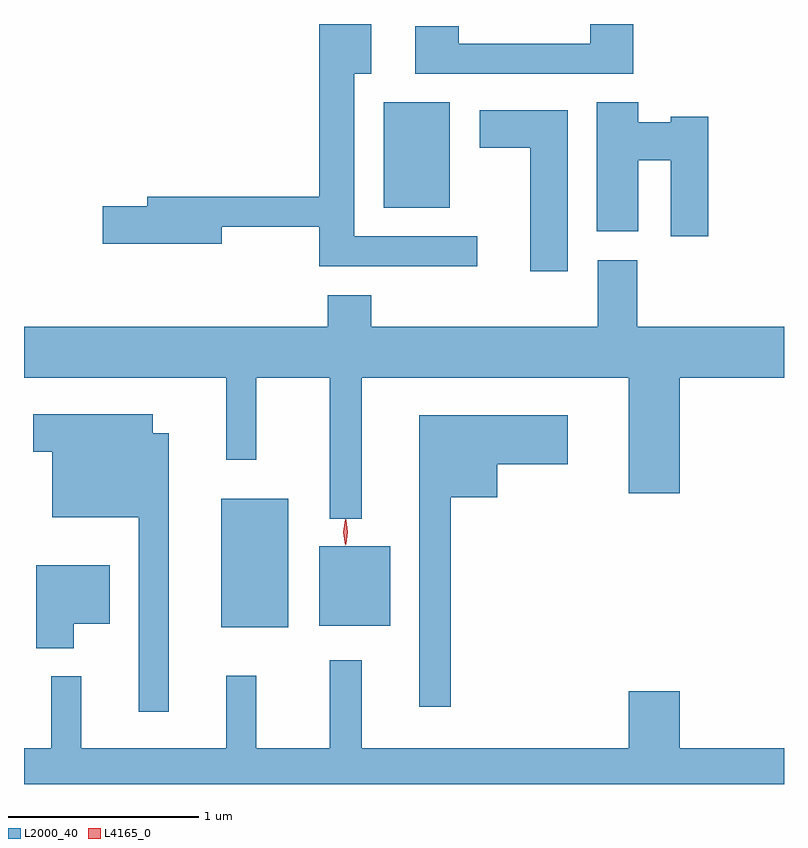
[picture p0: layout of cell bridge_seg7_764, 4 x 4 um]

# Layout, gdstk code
import gdstk
lib = gdstk.Library(unit=1e-6, precision=1e-09)
def R(c, l, rs):  # rectangles x0, y0, x1, y1
    for r in rs: c.add(gdstk.rectangle(r[:2], r[2:], *l))
def P(c, l, *ps):  # polygons
    for p in ps: c.add(gdstk.Polygon(p, *l))
L2000_40 = (2000, 40)
L4165_0 = (4165, 0)

bridge_seg7_764 = lib.new_cell('bridge_seg7_764')
R(bridge_seg7_764, L2000_40, [(252.891,1784.041,253.244,1784.719), (253.406,1784.051,253.779,1784.469), (253.746,1786.251,254.094,1786.804)])
P(bridge_seg7_764, L2000_40, [(255.059,1787.217),(254.831,1787.217),(254.831,1787.114),(254.139,1787.114),(254.139,1787.204),(253.911,1787.204),(253.911,1786.956),(255.059,1786.956)],
  [(254.238,1786.099),(253.589,1786.099),(253.589,1786.956),(253.679,1786.956),(253.679,1787.217),(253.406,1787.217),(253.406,1786.309),(252.501,1786.309),(252.501,1786.259),(252.266,1786.259),(252.266,1786.061),(252.894,1786.061),(252.894,1786.151),(253.406,1786.151),(253.406,1785.941),(254.238,1785.941)],
  [(255.454,1786.729),(255.256,1786.729),(255.256,1786.699),(255.084,1786.699),(255.084,1786.804),(254.866,1786.804),(254.866,1786.126),(255.084,1786.126),(255.084,1786.501),(255.256,1786.501),(255.256,1786.101),(255.454,1786.101)],
  [(254.714,1786.764),(254.251,1786.764),(254.251,1786.566),(254.516,1786.566),(254.516,1785.916),(254.714,1785.916)],
  [(253.629,1785.356),(255.036,1785.356),(255.036,1784.746),(255.304,1784.746),(255.304,1785.356),(255.852,1785.356),(255.852,1785.624),(255.079,1785.624),(255.079,1785.974),(254.871,1785.974),(254.871,1785.624),(253.679,1785.624),(253.679,1785.789),(253.451,1785.789),(253.451,1785.624),(251.852,1785.624),(251.852,1785.356),(252.916,1785.356),(252.916,1784.923),(253.074,1784.923),(253.074,1785.356),(253.461,1785.356),(253.461,1784.613),(253.629,1784.613)],
  [(252.614,1785.064),(252.529,1785.064),(252.529,1785.164),(251.901,1785.164),(251.901,1784.966),(252.001,1784.966),(252.001,1784.621),(252.456,1784.621),(252.456,1783.598),(252.614,1783.598)],
  [(254.099,1784.726),(254.344,1784.726),(254.344,1784.901),(254.714,1784.901),(254.714,1785.159),(253.931,1785.159),(253.931,1783.623),(254.099,1783.623)],
  [(252.114,1784.061),(252.304,1784.061),(252.304,1784.369),(251.916,1784.369),(251.916,1783.931),(252.114,1783.931)],
  [(255.852,1783.404),(255.304,1783.404),(255.304,1783.704),(255.036,1783.704),(255.036,1783.404),(253.629,1783.404),(253.629,1783.868),(253.461,1783.868),(253.461,1783.404),(253.074,1783.404),(253.074,1783.788),(252.916,1783.788),(252.916,1783.404),(252.154,1783.404),(252.154,1783.783),(251.996,1783.783),(251.996,1783.404),(251.852,1783.404),(251.852,1783.217),(255.852,1783.217)])
P(bridge_seg7_764, L4165_0, [(253.543,1784.473),(253.543,1784.474),(253.533,1784.542),(253.543,1784.61),(253.543,1784.61),(253.544,1784.61),(253.553,1784.542),(253.544,1784.474)],
  [(253.546,1784.478),(253.546,1784.479),(253.536,1784.543),(253.546,1784.607),(253.546,1784.607),(253.547,1784.607),(253.556,1784.543),(253.547,1784.479)])

lib.write_gds('bridge_seg7_764.gds')
